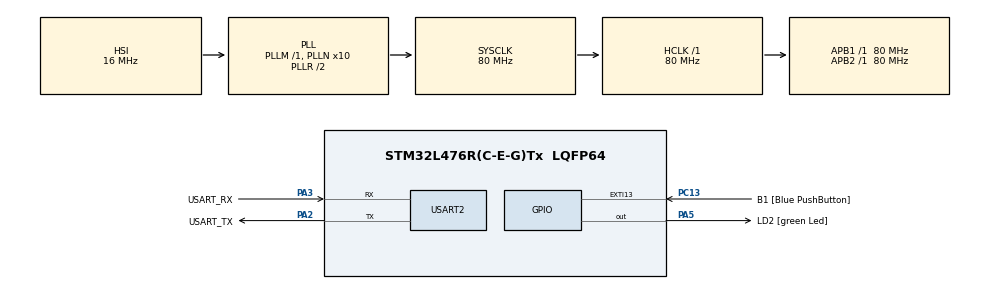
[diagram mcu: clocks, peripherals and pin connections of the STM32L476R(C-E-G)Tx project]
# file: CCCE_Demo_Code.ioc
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Mcu.Family=STM32L4
Mcu.Name=STM32L476R(C-E-G)Tx
Mcu.Package=LQFP64
NVIC.PriorityGroup=NVIC_PRIORITYGROUP_4
NVIC.TIM3_IRQn=true\:0\:0\:false\:false\:true\:true\:false\:true
NVIC.TIM6_DAC_IRQn=true\:15\:0\:false\:false\:true\:false\:true\:true
NVIC.TimeBase=TIM6_DAC_IRQn
NVIC.TimeBaseIP=TIM6
PA13\ (JTMS-SWDIO).GPIO_Label=TMS
PA13\ (JTMS-SWDIO).Mode=Serial_Wire
PA13\ (JTMS-SWDIO).Signal=SYS_JTMS-SWDIO
PA14\ (JTCK-SWCLK).GPIO_Label=TCK
PA14\ (JTCK-SWCLK).Mode=Serial_Wire
PA14\ (JTCK-SWCLK).Signal=SYS_JTCK-SWCLK
PA2.GPIO_Label=USART_TX
PA2.GPIO_Mode=GPIO_MODE_AF_PP
PA2.GPIO_PuPd=GPIO_NOPULL
PA2.GPIO_Speed=GPIO_SPEED_FREQ_VERY_HIGH
PA2.Mode=Asynchronous
PA2.Signal=USART2_TX
PA3.GPIO_Label=USART_RX
PA3.GPIO_Mode=GPIO_MODE_AF_PP
PA3.GPIO_PuPd=GPIO_NOPULL
PA3.GPIO_Speed=GPIO_SPEED_FREQ_VERY_HIGH
PA3.Mode=Asynchronous
PA3.Signal=USART2_RX
PA5.GPIO_Label=LD2 [green Led]
PA5.GPIO_ModeDefaultOutputPP=GPIO_MODE_OUTPUT_PP
PA5.GPIO_PuPd=GPIO_NOPULL
PA5.GPIO_Speed=GPIO_SPEED_FREQ_LOW
PA5.Signal=GPIO_Output
PB3\ (JTDO-TRACESWO).GPIO_Label=SWO
PB3\ (JTDO-TRACESWO).Signal=SYS_JTDO-SWO
PC13.GPIO_Label=B1 [Blue PushButton]
PC13.GPIO_ModeDefaultEXTI=GPIO_MODE_IT_FALLING
PC13.GPIO_PuPd=GPIO_NOPULL
PC13.Signal=GPXTI13
PC14-OSC32_IN\ (PC14).Mode=LSE-External-Oscillator
PC14-OSC32_IN\ (PC14).Signal=RCC_OSC32_IN
PC15-OSC32_OUT\ (PC15).Mode=LSE-External-Oscillator
PC15-OSC32_OUT\ (PC15).Signal=RCC_OSC32_OUT
PH0-OSC_IN\ (PH0).Mode=HSE-External-Oscillator
PH0-OSC_IN\ (PH0).Signal=RCC_OSC_IN
PH1-OSC_OUT\ (PH1).Mode=HSE-External-Oscillator
PH1-OSC_OUT\ (PH1).Signal=RCC_OSC_OUT
ProjectManager.HeapSize=0x200
ProjectManager.StackSize=0x400
ProjectManager.TargetToolchain=STM32CubeIDE
RCC.ADCFreq_Value=64000000
RCC.AHBFreq_Value=80000000
RCC.APB1Freq_Value=80000000
RCC.APB1TimFreq_Value=80000000
RCC.APB2Freq_Value=80000000
RCC.APB2TimFreq_Value=80000000
RCC.CortexFreq_Value=80000000
RCC.HCLKFreq_Value=80000000
RCC.HSE_VALUE=8000000
RCC.HSI_VALUE=16000000
RCC.MSI_VALUE=4000000
RCC.PLLN=10
RCC.PLLSourceVirtual=RCC_PLLSOURCE_HSI
RCC.PREFETCH_ENABLE=1
RCC.SYSCLKFreq_VALUE=80000000
RCC.SYSCLKSource=RCC_SYSCLKSOURCE_PLLCLK
RCC.USBFreq_Value=64000000
RCC.VCOOutputFreq_Value=160000000
TIM3.AutoReloadPreload=TIM_AUTORELOAD_PRELOAD_ENABLE
TIM3.Period=8000-1
USART2.VirtualMode-Asynchronous=VM_ASYNC
VP_SYS_VS_tim6.Mode=TIM6
VP_TIM3_VS_ClockSourceINT.Mode=Internal
board=NUCLEO-L476RG

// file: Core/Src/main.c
/* USER CODE BEGIN Header */
/**
  ******************************************************************************
  * @file           : main.c
  * @brief          : Main program body
  ******************************************************************************
  * @attention
  *
  * Copyright (c) 2025 STMicroelectronics.
  * All rights reserved.
  *
  * This software is licensed under terms that can be found in the LICENSE file
  * in the root directory of this software component.
  * If no LICENSE file comes with this software, it is provided AS-IS.
  *
  ******************************************************************************
  */
/* USER CODE END Header */
#include "main.h"

/* USER CODE BEGIN Includes */
#include <stdio.h>
#include <math.h>
#include <stdbool.h>
#include "string.h"
/* USER CODE END Includes */

/* USER CODE BEGIN PD */
#define PI 3.14159265
#define buffer_size 1024
#define number_data_pts 100
/* USER CODE END PD */

TIM_HandleTypeDef htim3;

UART_HandleTypeDef huart2;

/* USER CODE BEGIN PV */
extern volatile uint32_t send_data_flag;
extern volatile uint32_t collect_data_flag;

char buffer[100]={0};
struct data_struct {
	float data1;		//find trade off between printing floats vs uint32_t
	uint32_t data2;
	int data3;
};

// Two buffers instead of circular buffer architecture.
struct data_struct data_buffone[number_data_pts] = {0};
struct data_struct data_bufftwo[number_data_pts] = {0};
//struct data_struct read_buff[buffer_size] = {0};
volatile uint32_t readp = 0;
volatile uint32_t writep = 0;
bool is_buffone_full = false;
bool is_bufftwo_full = false;

/* USER CODE END PV */

void SystemClock_Config(void);
static void MX_GPIO_Init(void);
static void MX_USART2_UART_Init(void);
static void MX_TIM3_Init(void);
/* USER CODE BEGIN PFP */
void Usart_Transmit_Str(char *msg);
void Systick_configuration(void);
//void send_data_json(struct data_struct *var);
void send_data_json_array(void);
/* USER CODE END PFP */

int main(void)
{

  /* MCU Configuration--------------------------------------------------------*/

  /* Reset of all peripherals, Initializes the Flash interface and the Systick. */
  HAL_Init();

  /* USER CODE BEGIN Init */
// External OSC dosent work. Schematic shows it is 8mhz. Havent spent more time debugging why it isnt working.
  /* USER CODE END Init */

  /* Configure the system clock */
  SystemClock_Config();

  /* USER CODE BEGIN SysInit */
  Systick_configuration();
  /* USER CODE END SysInit */

  /* Initialize all configured peripherals */
  MX_GPIO_Init();
  MX_USART2_UART_Init();
  MX_TIM3_Init();
  /* USER CODE BEGIN 2 */
//  double time = 0;
//  uint32_t val1 = 0;
//  int val2 = 200;
  /* USER CODE END 2 */

  /* Infinite loop */
  /* USER CODE BEGIN WHILE */
  while (1)
  {
	  //float out = (float)sin(2*PI*1*time*0.05);
//	  if (collect_data_flag && send_data_flag)
//	  {
//		  data_buff[readp].data1 = (float)1;
//		  data_buff[readp].data2 = val1++;
//		  data_buff[readp].data3 = val2;
//		  readp++;
//		  readp = readp & ~512;
//		  val2*= -1;
//		  collect_data_flag = 0;
//	  }
//	  if (readp != writep)
//	  {
//		  //float out = (float)1;
//		  //snprintf(buffer,80,"Acc_X_g:%f,Y_g:%d,Z_g:%d\n",out,val1++,val2);
//		  send_data_json(&data_buff[writep++]);
//		  writep = writep & ~buffer_size;
//		  Usart_Transmit_Str(buffer);
//	  }
	  if (is_buffone_full || is_bufftwo_full)
	  {
		  send_data_json_array();
	  }
    /* USER CODE END WHILE */

  }
}

void SystemClock_Config(void)
{
  RCC_OscInitTypeDef RCC_OscInitStruct = {0};
  RCC_ClkInitTypeDef RCC_ClkInitStruct = {0};

  /** Configure the main internal regulator output voltage
  */
  if (HAL_PWREx_ControlVoltageScaling(PWR_REGULATOR_VOLTAGE_SCALE1) != HAL_OK)
  {
    Error_Handler();
  }

  /** Initializes the RCC Oscillators according to the specified parameters
  * in the RCC_OscInitTypeDef structure.
  */
  RCC_OscInitStruct.OscillatorType = RCC_OSCILLATORTYPE_HSI;
  RCC_OscInitStruct.HSIState = RCC_HSI_ON;
  RCC_OscInitStruct.HSICalibrationValue = RCC_HSICALIBRATION_DEFAULT;
  RCC_OscInitStruct.PLL.PLLState = RCC_PLL_ON;
  RCC_OscInitStruct.PLL.PLLSource = RCC_PLLSOURCE_HSI;
  RCC_OscInitStruct.PLL.PLLM = 1;
  RCC_OscInitStruct.PLL.PLLN = 10;
  RCC_OscInitStruct.PLL.PLLP = RCC_PLLP_DIV7;
  RCC_OscInitStruct.PLL.PLLQ = RCC_PLLQ_DIV2;
  RCC_OscInitStruct.PLL.PLLR = RCC_PLLR_DIV2;
  if (HAL_RCC_OscConfig(&RCC_OscInitStruct) != HAL_OK)
  {
    Error_Handler();
  }

  /** Initializes the CPU, AHB and APB buses clocks
  */
  RCC_ClkInitStruct.ClockType = RCC_CLOCKTYPE_HCLK|RCC_CLOCKTYPE_SYSCLK
                              |RCC_CLOCKTYPE_PCLK1|RCC_CLOCKTYPE_PCLK2;
  RCC_ClkInitStruct.SYSCLKSource = RCC_SYSCLKSOURCE_PLLCLK;
  RCC_ClkInitStruct.AHBCLKDivider = RCC_SYSCLK_DIV1;
  RCC_ClkInitStruct.APB1CLKDivider = RCC_HCLK_DIV1;
  RCC_ClkInitStruct.APB2CLKDivider = RCC_HCLK_DIV1;

  if (HAL_RCC_ClockConfig(&RCC_ClkInitStruct, FLASH_LATENCY_4) != HAL_OK)
  {
    Error_Handler();
  }
}

static void MX_TIM3_Init(void)
{

  TIM_ClockConfigTypeDef sClockSourceConfig = {0};
  TIM_MasterConfigTypeDef sMasterConfig = {0};

  htim3.Instance = TIM3;
  htim3.Init.Prescaler = 0;
  htim3.Init.CounterMode = TIM_COUNTERMODE_UP;
  htim3.Init.Period = 8000-1;
  htim3.Init.ClockDivision = TIM_CLOCKDIVISION_DIV1;
  htim3.Init.AutoReloadPreload = TIM_AUTORELOAD_PRELOAD_ENABLE;
  if (HAL_TIM_Base_Init(&htim3) != HAL_OK)
  {
    Error_Handler();
  }
  sClockSourceConfig.ClockSource = TIM_CLOCKSOURCE_INTERNAL;
  if (HAL_TIM_ConfigClockSource(&htim3, &sClockSourceConfig) != HAL_OK)
  {
    Error_Handler();
  }
  sMasterConfig.MasterOutputTrigger = TIM_TRGO_RESET;
  sMasterConfig.MasterSlaveMode = TIM_MASTERSLAVEMODE_DISABLE;
  if (HAL_TIMEx_MasterConfigSynchronization(&htim3, &sMasterConfig) != HAL_OK)
  {
    Error_Handler();
  }
  /* USER CODE BEGIN TIM3_Init 2 */
  HAL_TIM_Base_Start_IT(&htim3);
  /* USER CODE END TIM3_Init 2 */

}

static void MX_USART2_UART_Init(void)
{

  huart2.Instance = USART2;
  huart2.Init.BaudRate = 115200;
  huart2.Init.WordLength = UART_WORDLENGTH_8B;
  huart2.Init.StopBits = UART_STOPBITS_1;
  huart2.Init.Parity = UART_PARITY_NONE;
  huart2.Init.Mode = UART_MODE_TX_RX;
  huart2.Init.HwFlowCtl = UART_HWCONTROL_NONE;
  huart2.Init.OverSampling = UART_OVERSAMPLING_16;
  huart2.Init.OneBitSampling = UART_ONE_BIT_SAMPLE_DISABLE;
  huart2.AdvancedInit.AdvFeatureInit = UART_ADVFEATURE_NO_INIT;
  if (HAL_UART_Init(&huart2) != HAL_OK)
  {
    Error_Handler();
  }

}

static void MX_GPIO_Init(void)
{
  GPIO_InitTypeDef GPIO_InitStruct = {0};

  /* GPIO Ports Clock Enable */
  __HAL_RCC_GPIOC_CLK_ENABLE();
  __HAL_RCC_GPIOH_CLK_ENABLE();
  __HAL_RCC_GPIOA_CLK_ENABLE();
  __HAL_RCC_GPIOB_CLK_ENABLE();

  /*Configure GPIO pin Output Level */
  HAL_GPIO_WritePin(LD2_GPIO_Port, LD2_Pin, GPIO_PIN_RESET);

  /*Configure GPIO pin : B1_Pin */
  GPIO_InitStruct.Pin = B1_Pin;
  GPIO_InitStruct.Mode = GPIO_MODE_IT_FALLING;
  GPIO_InitStruct.Pull = GPIO_NOPULL;
  HAL_GPIO_Init(B1_GPIO_Port, &GPIO_InitStruct);

  /*Configure GPIO pin : LD2_Pin */
  GPIO_InitStruct.Pin = LD2_Pin;
  GPIO_InitStruct.Mode = GPIO_MODE_OUTPUT_PP;
  GPIO_InitStruct.Pull = GPIO_NOPULL;
  GPIO_InitStruct.Speed = GPIO_SPEED_FREQ_LOW;
  HAL_GPIO_Init(LD2_GPIO_Port, &GPIO_InitStruct);

}

/* USER CODE BEGIN 4 */
uint16_t GSMSendChar (uint8_t chr,uint32_t Timeout)
{
	uint32_t tickstart = HAL_GetTick();
//	if (UART_WaitOnFlagUntilTimeout(&huart2, UART_FLAG_TXE, RESET, tickstart, Timeout) != HAL_OK)
//	{
//		return 1;
//		//Error_Handler();
//	}
	while ((__HAL_UART_GET_FLAG(&huart2, UART_FLAG_TXE) ? SET : RESET) == RESET)
	{
		if (((HAL_GetTick() - tickstart) > Timeout) || (Timeout == 0U))
		{
			return 1;
		}
	}
	huart2.Instance->TDR = (uint8_t)(chr & 0xFFU);
	return 0;
}

void Usart_Transmit_Str(char *msg)
{
	uint16_t i = 0;
	while(msg[i] != '\0')
	{
//		USART_SendData(USARTx, msg[i]);
		if(GSMSendChar(msg[i],10)!= 1)
		{
			i++;
		}
	}
}

void Systick_configuration(void)
{
	//https://www.learningaboutelectronics.com/Articles/Systick-reload-value-register-calculator.php#answer
	uint32_t HCLK = HAL_RCC_GetHCLKFreq();
	if (SysTick_Config(HCLK/1000)) // 1ms
	{
		Error_Handler();
	}
}

//void send_data_json(struct data_struct* var)
//{
//	snprintf(buffer,100,"{\"D1\":%u,\"D2\":%u,\"D3\":%u}\n",var->data1,var->data2,var->data3);
//}

void put_data(float val1,int val2,int val3)
{
	//data_buff[readp].data1 = (uint32_t)val1; type casting seems to be wrong approach for float
	// Select the buffer
//	uint32_t* bs_data = &val1; // stack address mostly.
//	data_buff[readp].data1 = *bs_data;
//	data_buff[readp].data2 = (uint32_t)val2;
//	data_buff[readp].data3 = (uint32_t)val3; // negative values are fine.
//	readp++;
//	readp = readp & ~buffer_size;

	static uint32_t buff_state= 0;
	switch (buff_state)
	{
	case 0:
		// Init case
		readp = 0;
		if (!is_buffone_full)
		{
			buff_state = 1;
		}
		else if (!is_bufftwo_full)
		{
			buff_state = 2;
		}
		else
		{
			buff_state = 3;
		}
		break;
	case 1:
		// Data store buff one
		data_buffone[readp].data1 = val1;
		data_buffone[readp].data2 = val2;
		data_buffone[readp].data3 = val3; // negative values are fine.
		readp++;
		if (readp >= number_data_pts)
		{
			is_buffone_full = true;
			buff_state = 0;
		}
		break;
	case 2:
		// Data store buff two
		data_bufftwo[readp].data1 = val1;
		data_bufftwo[readp].data2 = val2;
		data_bufftwo[readp].data3 = val3; // negative values are fine.
		readp++;
		if (readp >= number_data_pts)
		{
			is_bufftwo_full = true;
			buff_state = 0;
		}
		break;
	case 3:
		// both buffers are full. Wait until empty. Dont accept data case.
		if (!is_buffone_full || !is_bufftwo_full)
		{
			buff_state = 0;
		}
		break;
	}
}

void send_data_json_array(void)
{
	/* Sending data in json array format.
	 * example: {"D1":[3123123,123124124,124124124],
	 * 			 "D2":[31,32,33],
	 * 			 "D3":[200,23141241241,200]
	 * }
	 */

	//send header first
	struct data_struct* struc_p;
	struct data_struct* struc_sv;
	//writep = 0 ;
	char local_val_buff[10];
	uint32_t buff_used = 0;

	if (is_buffone_full)
	{
		struc_sv = data_buffone;
		buff_used = 1;
	}
	else if (is_bufftwo_full)
	{
		struc_sv = data_bufftwo;
		buff_used = 2;
	}
	else
	{
		return;
	}

	snprintf(buffer,100,"{\"D1\":[");
	Usart_Transmit_Str(buffer);

	struc_p = struc_sv;
	//send data byte by byte
	for (int i=0;i<number_data_pts;i++)
	{
		// data 1 float
		snprintf(local_val_buff,10,"%f",struc_p->data1);
		if (i<number_data_pts-1)
		{
			strcat(local_val_buff,",");
		}
		struc_p++;
		Usart_Transmit_Str(local_val_buff);
	}

	snprintf(buffer,100,"],\"D2\":[");
	Usart_Transmit_Str(buffer);

	struc_p = struc_sv;
	//send data byte by byte
	for (int i=0;i<number_data_pts;i++)
	{
		// data 1 float
		snprintf(local_val_buff,10,"%u",(unsigned int)struc_p->data2);
		if (i<number_data_pts-1)
		{
			strcat(local_val_buff,",");
		}
		struc_p++;
		Usart_Transmit_Str(local_val_buff);
	}
	snprintf(buffer,100,"],\"D3\":[");
	Usart_Transmit_Str(buffer);

	struc_p = struc_sv;
	//send data byte by byte
	for (int i=0;i<number_data_pts;i++)
	{
		// data 1 float
		snprintf(local_val_buff,10,"%i",struc_p->data3);
		if (i<number_data_pts-1)
		{
			strcat(local_val_buff,",");
		}
		struc_p++;
		Usart_Transmit_Str(local_val_buff);
	}

	//Footer
	snprintf(buffer,100,"]}\n");
	Usart_Transmit_Str(buffer);

	if (buff_used == 1)
	{
		is_buffone_full = false;
	}
	else if(buff_used == 2 )
	{
		is_bufftwo_full = false;
	}
}
/* USER CODE END 4 */

void HAL_TIM_PeriodElapsedCallback(TIM_HandleTypeDef *htim)
{
  if (htim->Instance == TIM6) {
    HAL_IncTick();
  }
}

void Error_Handler(void)
{
  __disable_irq();
  while (1)
  {
  }
}
